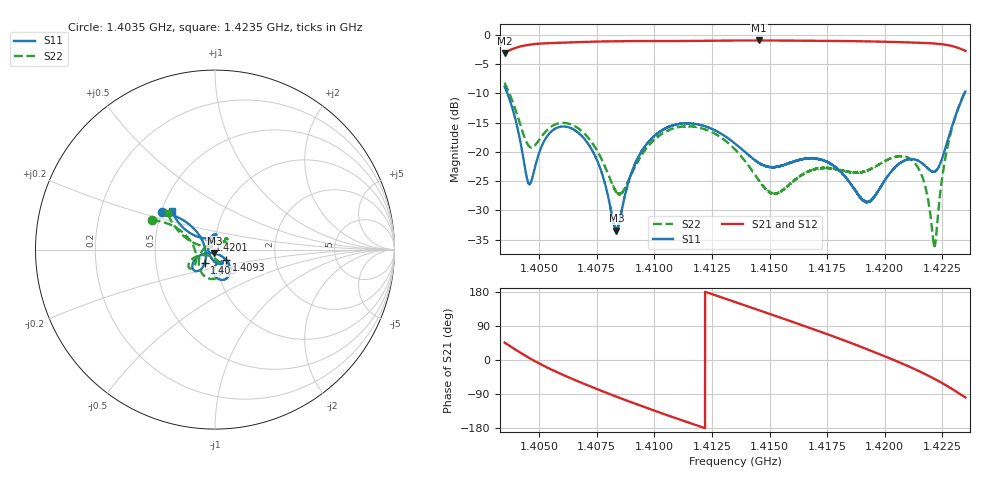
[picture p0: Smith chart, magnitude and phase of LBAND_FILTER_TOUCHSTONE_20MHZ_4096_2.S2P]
!Agilent Technologies,E5071C,MY46316135,A.11.02
!Date: Fri Aug 28 18:15:42 2020
!Data & Calibration Information:
!Freq	S11:SOLT2(ON)	S21:SOLT2(ON)	S12:SOLT2(ON)	S22:SOLT2(ON)
!PortZ  Port1:50+j0  Port2:50+j0
!Above PortZ is port z conversion or system Z0 setting when saving the data.
!When reading, reference impedance value at option line is always used.
# Hz S RI R 50
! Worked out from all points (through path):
!   4096 points, 1.4035 GHz to 1.4235 GHz, reference 50 ohm
!   highest |S21| = -1.00 dB at 1.4145 GHz (marker M1); lowest = -3.1 dB at 1.4035 GHz (marker M2)
!   lowest |S11| = -33.4 dB at 1.4084 GHz (marker M3), VSWR 1.04, Z = 49.6 - j2.08 ohm
!   |S11| at or under -10 dB: 1.4036 GHz to 1.4235 GHz (19.85 MHz wide, 1.4 % of centre)
!   |S22| runs from -36.1 to -8.2 dB; largest |S21 - S12| = 0.012
!   S11 on the Smith chart (normalised r, x): 1.4035 GHz: 0.51, +0.24; 1.405 GHz: 0.88, -0.14; 1.4093 GHz: 1.13, -0.14; 1.4201 GHz: 0.94, +0.10; 1.4235 GHz: 0.56, +0.27
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1.4035e9  -0.2948 0.2074  0.4861 0.5008  0.4799 0.491  -0.3524 0.1644
1.404531e9  -0.0547 0.00244  0.8127 0.0948  0.81 0.0944  -0.1135 0.00307
1.40498e9  -0.0574 -0.0762  0.8271 -0.1226  0.8265 -0.1245  -0.1062 -0.0658
1.405761e9  -0.1057 -0.1203  0.7231 -0.4474  0.72 -0.4515  -0.1372 -0.1059
1.406836e9  -0.1195 -0.0678  0.4309 -0.7487  0.4249 -0.7489  -0.1371 -0.0636
1.407617e9  -0.0704 -0.0272  0.1613 -0.8579  0.1579 -0.8549  -0.088 -0.0335
1.408355e9  -0.0036 -0.021  -0.1044 -0.8728  -0.1043 -0.8695  -0.0283 -0.0358
1.409263e9  0.0636 -0.0597  -0.4074 -0.7817  -0.4057 -0.7814  0.0243 -0.0782
1.410167e9  0.0849 -0.1179  -0.6478 -0.5979  -0.6478 -0.6002  0.0299 -0.1325
1.411861e9  0.0327 -0.1686  -0.8776 -0.109  -0.8809 -0.1079  -0.0482 -0.155
1.413502e9  -0.00563 -0.1173  -0.7936 0.4042  -0.7916 0.4074  -0.0891 -0.0551
1.414543e9  0.00993 -0.0796  -0.588 0.6704  -0.5844 0.6706  -0.055 0.0135
1.415285e9  0.0294 -0.0687  -0.3856 0.8027  -0.383 0.8  -0.0141 0.0416
1.416838e9  0.0392 -0.079  0.1139 0.8788  0.1117 0.8749  0.0566 0.0409
1.419197e9  -0.036 -0.00894  0.7634 0.4305  0.7584 0.4334  0.0549 0.0414
1.420081e9  -0.0309 0.0518  0.8601 0.1195  0.8572 0.1244  0.0598 0.0602
1.420169e9  -0.0287 0.0566  0.8628 0.0862  0.8609 0.0915  0.061 0.0612
1.421454e9  0.00802 0.0834  0.7497 -0.4065  0.7509 -0.4026  0.0594 0.0421
1.421795e9  0.00246 0.0746  0.6634 -0.5277  0.6644 -0.5246  0.0385 0.0275
1.422167e9  -0.0218 0.0643  0.5385 -0.644  0.5384 -0.6416  -0.00299 0.0155
1.422719e9  -0.0989 0.0724  0.2926 -0.7604  0.2913 -0.7564  -0.1042 0.0312
1.4235e9  -0.2427 0.2184  -0.1126 -0.7182  -0.1104 -0.7096  -0.2643 0.2034
